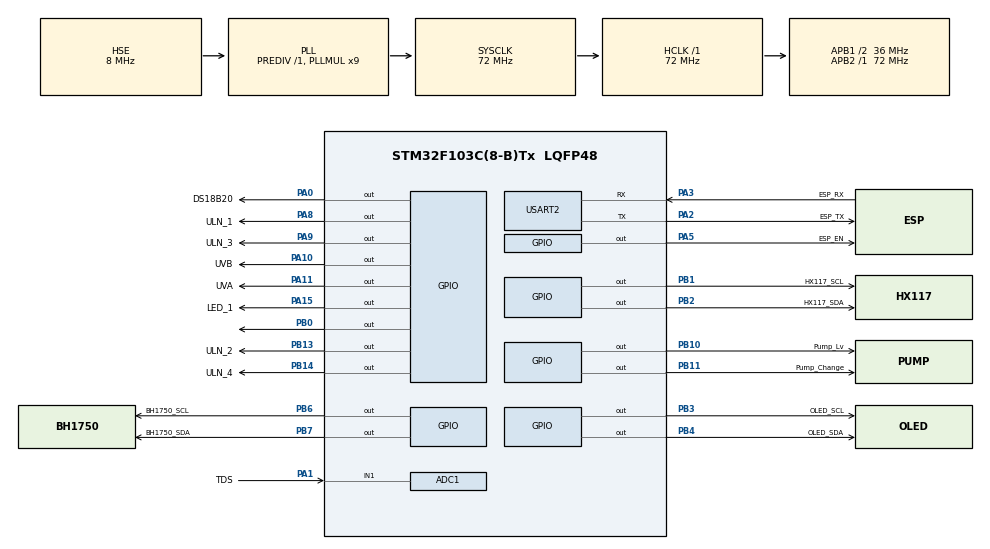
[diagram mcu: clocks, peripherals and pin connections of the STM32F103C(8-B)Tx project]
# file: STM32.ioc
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ADC1.Channel-0\#ChannelRegularConversion=ADC_CHANNEL_1
ADC1.NbrOfConversionFlag=1
ADC1.Rank-0\#ChannelRegularConversion=1
ADC1.SamplingTime-0\#ChannelRegularConversion=ADC_SAMPLETIME_1CYCLE_5
ADC1.master=1
Mcu.Family=STM32F1
Mcu.Name=STM32F103C(8-B)Tx
Mcu.Package=LQFP48
NVIC.PriorityGroup=NVIC_PRIORITYGROUP_4
NVIC.USART2_IRQn=true\:0\:0\:false\:false\:true\:true\:true\:true
PA0-WKUP.GPIO_Label=DS18B20
PA0-WKUP.Signal=GPIO_Output
PA1.GPIO_Label=TDS
PA1.Signal=ADCx_IN1
PA10.GPIO_Label=UVB
PA10.GPIO_PuPd=GPIO_PULLUP
PA10.PinState=GPIO_PIN_SET
PA10.Signal=GPIO_Output
PA11.GPIO_Label=UVA
PA11.GPIO_PuPd=GPIO_PULLUP
PA11.PinState=GPIO_PIN_SET
PA11.Signal=GPIO_Output
PA13.Mode=Serial_Wire
PA13.Signal=SYS_JTMS-SWDIO
PA14.Mode=Serial_Wire
PA14.Signal=SYS_JTCK-SWCLK
PA15.GPIO_Label=LED_1
PA15.Signal=GPIO_Output
PA2.GPIO_Label=ESP_TX
PA2.Mode=Asynchronous
PA2.Signal=USART2_TX
PA3.GPIO_Label=ESP_RX
PA3.Mode=Asynchronous
PA3.Signal=USART2_RX
PA5.GPIO_Label=ESP_EN
PA5.PinState=GPIO_PIN_SET
PA5.Signal=GPIO_Output
PA8.GPIO_Label=ULN_1
PA8.Signal=GPIO_Output
PA9.GPIO_Label=ULN_3
PA9.Signal=GPIO_Output
PB0.GPIO_PuPd=GPIO_PULLDOWN
PB0.PinState=GPIO_PIN_RESET
PB0.Signal=GPIO_Output
PB1.GPIO_Label=HX117_SCL
PB1.GPIO_Speed=GPIO_SPEED_FREQ_HIGH
PB1.Signal=GPIO_Output
PB10.GPIO_Label=Pump_Lv
PB10.Signal=GPIO_Output
PB11.GPIO_Label=Pump_Change
PB11.Signal=GPIO_Output
PB13.GPIO_Label=ULN_2
PB13.Signal=GPIO_Output
PB14.GPIO_Label=ULN_4
PB14.Signal=GPIO_Output
PB2.GPIO_Label=HX117_SDA
PB2.GPIO_PuPd=GPIO_PULLUP
PB2.GPIO_Speed=GPIO_SPEED_FREQ_HIGH
PB2.PinState=GPIO_PIN_RESET
PB2.Signal=GPIO_Output
PB3.GPIO_Label=OLED_SCL
PB3.Signal=GPIO_Output
PB4.GPIO_Label=OLED_SDA
PB4.Signal=GPIO_Output
PB6.GPIO_Label=BH1750_SCL
PB6.Signal=GPIO_Output
PB7.GPIO_Label=BH1750_SDA
PB7.Signal=GPIO_Output
PD0-OSC_IN.Mode=HSE-External-Oscillator
PD0-OSC_IN.Signal=RCC_OSC_IN
PD1-OSC_OUT.Mode=HSE-External-Oscillator
PD1-OSC_OUT.Signal=RCC_OSC_OUT
ProjectManager.HeapSize=0x200
ProjectManager.StackSize=0x400
ProjectManager.TargetToolchain=MDK-ARM V5.32
RCC.ADCPresc=RCC_ADCPCLK2_DIV6
RCC.AHBFreq_Value=72000000
RCC.APB1CLKDivider=RCC_HCLK_DIV2
RCC.APB1Freq_Value=36000000
RCC.APB1TimFreq_Value=72000000
RCC.APB2Freq_Value=72000000
RCC.APB2TimFreq_Value=72000000
RCC.HCLKFreq_Value=72000000
RCC.PLLMUL=RCC_PLL_MUL9
RCC.PLLSourceVirtual=RCC_PLLSOURCE_HSE
RCC.SYSCLKFreq_VALUE=72000000
RCC.SYSCLKSource=RCC_SYSCLKSOURCE_PLLCLK
RCC.USBFreq_Value=72000000
SH.ADCx_IN1.0=ADC1_IN1,IN1
TIM1.Period=10000
TIM1.Prescaler=7199
USART2.VirtualMode=VM_ASYNC
VP_TIM1_VS_ClockSourceINT.Mode=Internal
board=custom

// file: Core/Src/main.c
/* USER CODE BEGIN Header */
/**
  ******************************************************************************
  * @file           : main.c
  * @brief          : Main program body
  ******************************************************************************
  * @attention
  *
  * Copyright (c) 2024 STMicroelectronics.
  * All rights reserved.
  *
  * This software is licensed under terms that can be found in the LICENSE file
  * in the root directory of this software component.
  * If no LICENSE file comes with this software, it is provided AS-IS.
  *
  ******************************************************************************
  */
/* USER CODE END Header */
#include "main.h"
#include "adc.h"
#include "tim.h"
#include "usart.h"
#include "gpio.h"

/* USER CODE BEGIN Includes */
//#include "retarget.h"
#include "esp8266.h"
#include "onenet.h"
#include "MqttKit.h"

#include "string.h"
/* USER CODE END Includes */

/* USER CODE BEGIN PTD */
extern unsigned char aRxBuffer;
extern unsigned char ESP01S_buf[64];
extern unsigned short ESP01S_cnt, ESP01S_cntPre;
/* USER CODE END PTD */

void SystemClock_Config(void);

int main(void)
{
  /* USER CODE BEGIN 1 */
    const char *devSubTopic[] = {"/mysmartturtle/sub"};
    const char devPubTopic[] = "/mysmartturtle/pub";
    unsigned short timeCount = 0;	//
    char PUB_BUF[128];//上传数据的PUB
    unsigned char *dataPtr = NULL;
    uint16_t count = 0;

  /* USER CODE END 1 */

  /* MCU Configuration--------------------------------------------------------*/

  /* Reset of all peripherals, Initializes the Flash interface and the Systick. */
  HAL_Init();

  /* Configure the system clock */
  SystemClock_Config();

  /* Initialize all configured peripherals */
  MX_GPIO_Init();
  MX_ADC1_Init();
  MX_TIM1_Init();
  MX_USART2_UART_Init();
  /* USER CODE BEGIN 2 */
//  RetargetInit(&huart1);

    OLED_Init();
//    DS18B20_Init_Check();
    OLED_Clear();
    BH1750_Init();
//    DS18B20_Init();

//  HAL_UART_Receive_IT(&huart2, &aRxBuffer, 1); // 启动中断接收
//  ESP01S_Init();  //8266初始
//  while(OneNet_DevLink())  //接入onenet
//  ESP01S_Clear();    //*/
//  OneNet_Subscribe(devSubTopic, 1);

  /* USER CODE END 2 */

  /* Infinite loop */
  /* USER CODE BEGIN WHILE */
    HAL_GPIO_WritePin(GPIOA,GPIO_PIN_10,GPIO_PIN_RESET);//BEEP
    HAL_GPIO_WritePin(GPIOA,GPIO_PIN_11,GPIO_PIN_RESET);//BEEP
  while (1)
  {

//        //OLED显示集成函数
        OLED_Data_Show();
//        //数据采集函数（水温�?�水质�?�光照强度等�????????
        Data_Get();
//        //轮询设置标志�????????
        Flag_Set();

      if (TDS_Flag == 1){
          HAL_GPIO_WritePin(GPIOB,GPIO_PIN_0,GPIO_PIN_SET);//BEEP
          HAL_GPIO_WritePin(GPIOA,GPIO_PIN_10,GPIO_PIN_SET);//BEEP
          HAL_GPIO_WritePin(GPIOA,GPIO_PIN_11,GPIO_PIN_SET);//BEEP
      }else {
          HAL_GPIO_WritePin(GPIOB, GPIO_PIN_0, GPIO_PIN_RESET);
          HAL_GPIO_WritePin(GPIOA,GPIO_PIN_10,GPIO_PIN_RESET);//BEEP
          HAL_GPIO_WritePin(GPIOA,GPIO_PIN_11,GPIO_PIN_RESET);//BEEP
      }
        HAL_Delay(10);
//
//      if(++timeCount >= 10){
//          sprintf(PUB_BUF,"{\"Temp\":%d,\"TDS\":%d,\"Lumen\":%d,\"Weight_Flag\":%d,\"Weight\":%d}",
//                  (uint32_t )temperature,(uint32_t)TDS,(uint32_t )Lumen,Weight_Flag,(uint32_t )Weight);
//          OneNet_Publish(devPubTopic, PUB_BUF);
//
//          timeCount = 0;
//          ESP01S_Clear();
//      }
//      dataPtr = ESP01S_GetIPD(3);
//      if(dataPtr != NULL)
//          OneNet_RevPro(dataPtr);
//

    /* USER CODE END WHILE */

  }
}

void SystemClock_Config(void)
{
  RCC_OscInitTypeDef RCC_OscInitStruct = {0};
  RCC_ClkInitTypeDef RCC_ClkInitStruct = {0};
  RCC_PeriphCLKInitTypeDef PeriphClkInit = {0};

  /** Initializes the RCC Oscillators according to the specified parameters
  * in the RCC_OscInitTypeDef structure.
  */
  RCC_OscInitStruct.OscillatorType = RCC_OSCILLATORTYPE_HSE;
  RCC_OscInitStruct.HSEState = RCC_HSE_ON;
  RCC_OscInitStruct.HSEPredivValue = RCC_HSE_PREDIV_DIV1;
  RCC_OscInitStruct.HSIState = RCC_HSI_ON;
  RCC_OscInitStruct.PLL.PLLState = RCC_PLL_ON;
  RCC_OscInitStruct.PLL.PLLSource = RCC_PLLSOURCE_HSE;
  RCC_OscInitStruct.PLL.PLLMUL = RCC_PLL_MUL9;
  if (HAL_RCC_OscConfig(&RCC_OscInitStruct) != HAL_OK)
  {
    Error_Handler();
  }

  /** Initializes the CPU, AHB and APB buses clocks
  */
  RCC_ClkInitStruct.ClockType = RCC_CLOCKTYPE_HCLK|RCC_CLOCKTYPE_SYSCLK
                              |RCC_CLOCKTYPE_PCLK1|RCC_CLOCKTYPE_PCLK2;
  RCC_ClkInitStruct.SYSCLKSource = RCC_SYSCLKSOURCE_PLLCLK;
  RCC_ClkInitStruct.AHBCLKDivider = RCC_SYSCLK_DIV1;
  RCC_ClkInitStruct.APB1CLKDivider = RCC_HCLK_DIV2;
  RCC_ClkInitStruct.APB2CLKDivider = RCC_HCLK_DIV1;

  if (HAL_RCC_ClockConfig(&RCC_ClkInitStruct, FLASH_LATENCY_2) != HAL_OK)
  {
    Error_Handler();
  }
  PeriphClkInit.PeriphClockSelection = RCC_PERIPHCLK_ADC;
  PeriphClkInit.AdcClockSelection = RCC_ADCPCLK2_DIV6;
  if (HAL_RCCEx_PeriphCLKConfig(&PeriphClkInit) != HAL_OK)
  {
    Error_Handler();
  }
}

/* USER CODE BEGIN 4 */
void HAL_UART_RxCpltCallback(UART_HandleTypeDef *huart)
{

    if(ESP01S_cnt >= sizeof(ESP01S_buf))  //溢出判断
    {
        ESP01S_cnt = 0;
        memset(ESP01S_buf,0x00,sizeof(ESP01S_buf));
//        HAL_UART_Transmit(&huart1, (uint8_t *)"接收缓存溢出", 10,0xFFFF);
    }
    else
    {
        ESP01S_buf[ESP01S_cnt++] = aRxBuffer;   //接收数据转存
    }

    HAL_UART_Receive_IT(&huart2, &aRxBuffer, 1);   //再开启接收中�?????????????????????????????????????????????????????????????
}

/* USER CODE END 4 */

void Error_Handler(void)
{
  __disable_irq();
  while (1)
  {
  }
}
